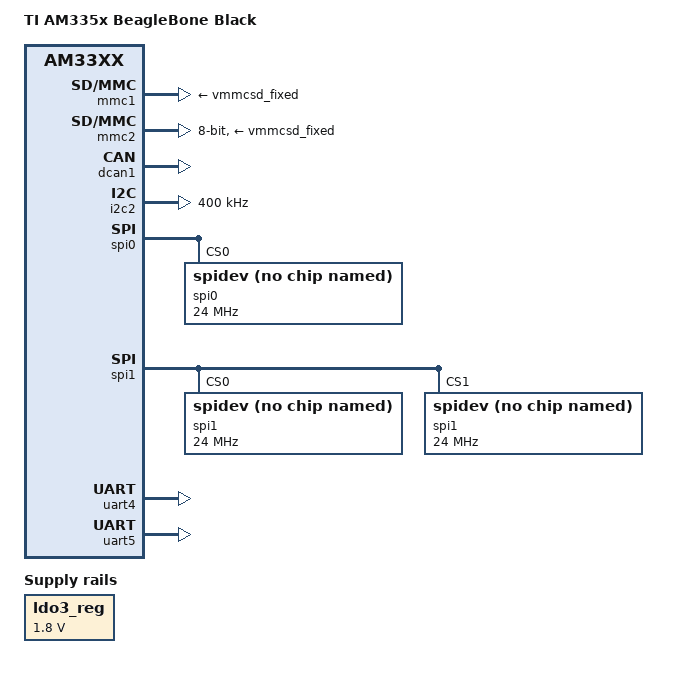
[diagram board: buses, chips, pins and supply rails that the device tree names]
// SPDX-License-Identifier: GPL-2.0-only
/*
 * Copyright (C) 2021 Texas Instruments Incorporated - https://www.ti.com/
 *                    Modified by Mirko Denecke <mirkix@gmail.com>
 *					  Updated by Vinicius Juvinski <juvinski@hotmail.com>
 */
/dts-v1/;

#include "am33xx.dtsi"
#include "am335x-bone-common.dtsi"
#include <dt-bindings/pinctrl/am33xx.h>

/ {
	model = "TI AM335x BeagleBone Black";
	compatible = "ti,am335x-bone-green","ti,am335x-bone-black", "ti,am335x-bone", "ti,am33xx";
};

&ldo3_reg {
	regulator-min-microvolt = <1800000>;
	regulator-max-microvolt = <1800000>;
	regulator-always-on;
};

&mmc1 {
	vmmc-supply = <&vmmcsd_fixed>;
};

&mmc2 {
	vmmc-supply = <&vmmcsd_fixed>;
	pinctrl-names = "default";
	pinctrl-0 = <&emmc_pins>;
	bus-width = <8>;
	status = "okay";
};

&cpu0_opp_table {
	/*
	 * All PG 2.0 silicon may not support 1GHz but some of the early
	 * BeagleBone Blacks have PG 2.0 silicon which is guaranteed
	 * to support 1GHz OPP so enable it for PG 2.0 on this board.
	 */
	oppnitro-1000000000 {
		opp-supported-hw = <0x06 0x0100>;
	};
};

&am33xx_pinmux {
	dcan1_pins: pinmux_dcan1_pins {
		pinctrl-single,pins = <
			/* P9_26: uart1_rxd.d_can1_tx */
			AM33XX_IOPAD(0x0980, (PIN_OUTPUT_PULLUP | MUX_MODE2))
			/* P9_24: uart1_txd.d_can1_rx */
			AM33XX_IOPAD(0x0984,(PIN_INPUT_PULLUP | MUX_MODE2))
		>;
	};

	pru_pins: pinmux_pru_pins {
		pinctrl-single,pins = <
			0x03c 0x35	/* ecap0_in_pwm0_out.pr1_ecap0_ecap_capin, MODE5 | INPUT_PULLUP | PRU, PPM-sum, SBUS, DSM  */

			0x0e8 0x25	/* lcd_pclk.pr1_pru1_pru_r30_10, MODE5 | OUTPUT | PRU, CH_1 */
			0x0e0 0x25	/* lcd_vsync.pr1_pru1_pru_r30_8, MODE5 | OUTPUT | PRU, CH_2 */
			0x0ec 0x25	/* lcd_ac_bias_en.pr1_pru1_pru_r30_11, MODE5 | OUTPUT | PRU, CH_3 */
			0x0e4 0x25	/* lcd_hsync.pr1_pru1_pru_r30_9, MODE5 | OUTPUT | PRU, CH_4 */
			0x0bc 0x25	/* lcd_data7.pr1_pru1_pru_r30_7, MODE5 | OUTPUT | PRU, CH_5 */
			0x0b8 0x25	/* lcd_data6.pr1_pru1_pru_r30_6, MODE5 | OUTPUT | PRU, CH_6 */
			0x0b4 0x25	/* lcd_data5.pr1_pru1_pru_r30_5, MODE5 | OUTPUT | PRU, CH_7 */
			0x0b0 0x25	/* lcd_data4.pr1_pru1_pru_r30_4, MODE5 | OUTPUT | PRU, CH_8 */
			0x0ac 0x25	/* lcd_data3.pr1_pru1_pru_r30_3, MODE5 | OUTPUT | PRU, CH_9 */
			0x0a8 0x25	/* lcd_data2.pr1_pru1_pru_r30_2, MODE5 | OUTPUT | PRU, CH_10 */
			0x0a4 0x25	/* lcd_data1.pr1_pru1_pru_r30_1, MODE5 | OUTPUT | PRU, CH_11 */
			0x0a0 0x25	/* lcd_data0.pr1_pru1_pru_r30_0, MODE5 | OUTPUT | PRU, CH_12 */

			AM33XX_IOPAD(0x0830,(PIN_OUTPUT_PULLDOWN | MUX_MODE6)) /* HC-SR04 TRIG */
			AM33XX_IOPAD(0x0838,(PIN_INPUT_PULLDOWN | MUX_MODE6)) /* HC-SR04 ECHO */

			AM33XX_IOPAD(0x09ac,(PIN_INPUT_PULLDOWN | MUX_MODE6)) /* MPU9250 INT */
		>;
	};

	spi0_pins: pinmux_spi0_pins {
		pinctrl-single,pins = <
			/* P9_22: spi0_sclk.spi0_sclk */
			AM33XX_IOPAD(0x0950,(PIN_INPUT_PULLUP | MUX_MODE0))
			/* P9_21: spi0_d0.spi0_d0 */
			AM33XX_IOPAD(0x0954,(PIN_INPUT_PULLUP | MUX_MODE0))
			/* P9_18: spi0_d1.spi0_d1 */
			AM33XX_IOPAD(0x0958, (PIN_OUTPUT_PULLUP | MUX_MODE0))
			/* P9_17: spi0_cs0.spi0_cs0 */
			AM33XX_IOPAD(0x095c, (PIN_OUTPUT_PULLUP | MUX_MODE0))
		>;
	};

	spi1_pins: pinmux_spi1_pins {
		pinctrl-single,pins = <
			/* P9_31: mcasp0_aclkx.spi1_sclk */
			AM33XX_IOPAD(0x0990, (PIN_INPUT_PULLUP | MUX_MODE3))

			/* P9_29: mcasp0_fsx.spi1_d0 */
			AM33XX_IOPAD(0x0994, (PIN_INPUT_PULLUP | MUX_MODE3))

			/* P9_30: mcasp0_axr0.spi1_d1 */
			AM33XX_IOPAD(0x0998, (PIN_OUTPUT_PULLUP | MUX_MODE3))

			/* P9_28: mcasp0_ahclkr.spi1_cs0 */
			AM33XX_IOPAD(0x099c, (PIN_OUTPUT_PULLUP | MUX_MODE3))

			/* P9_42: ecap0_in_pwm0_out.spi1_cs1 */
			AM33XX_IOPAD(0x0964, (PIN_OUTPUT_PULLUP | MUX_MODE2))
		>;
	};

	uart4_pins: pinmux_uart4_pins {
		pinctrl-single,pins = <
			/* P9_11: gpmc_wait0.uart4_rxd_mux2 */
			AM33XX_IOPAD(0x0870, (PIN_INPUT_PULLUP | MUX_MODE6))
			/* P9_13: gpmc_wpn.uart4_txd_mux2  */
			AM33XX_IOPAD(0x0874, (PIN_OUTPUT_PULLDOWN | MUX_MODE6))
		>;
	};

	uart5_pins: pinmux_uart5_pins {
		pinctrl-single,pins = <
			/* P8_38: lcd_data9.uart5_rxd */
			AM33XX_IOPAD(0x08c4, (PIN_INPUT_PULLUP | MUX_MODE4))
			/* P8_37: lcd_data8.uart5_txd */
			AM33XX_IOPAD(0x08c0, (PIN_OUTPUT_PULLDOWN | MUX_MODE4))
		>;
	};
};

&dcan1 {
	pinctrl-names = "default";
	pinctrl-0 = <&dcan1_pins>;
	status = "okay";
};

&i2c2 {
	clock-frequency = <400000>;
};

&spi0 {
	pinctrl-names = "default";
	pinctrl-0 = <&spi0_pins>;
	status = "okay";

	spi0@0 {
		#address-cells = <1>;
		#size-cells = <0>;
		spi-max-frequency = <24000000>;
		reg = <0>;
		compatible = "spidev";
		symlink = "bone/spi/0.0";
	};
};

&spi1 {
	pinctrl-names = "default";
	pinctrl-0 = <&spi1_pins>;
	status = "okay";

	spi1@0 {
		#address-cells = <1>;
		#size-cells = <0>;
		reg = <0>;
		spi-max-frequency = <24000000>;
		compatible = "spidev";
		symlink = "bone/spi/1.0";
	};

	spi1@1 {
		#address-cells = <1>;
		#size-cells = <0>;
		reg = <1>;
		spi-max-frequency = <24000000>;
		compatible = "spidev";
		symlink = "bone/spi/1.1";
	};
};

&tscadc {
	adc {
		ti,adc-channels = <0 1>;
	};
};

//&pruss {
//	pinctrl-names = "default";
//	pinctrl-0 = <&pru_pins>;
//	status = "okay";
//};

&uart4 {
	pinctrl-names = "default";
	pinctrl-0 = <&uart4_pins>;
	status = "okay";
};

&uart5 {
	pinctrl-names = "default";
	pinctrl-0 = <&uart5_pins>;
	status = "okay";
};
